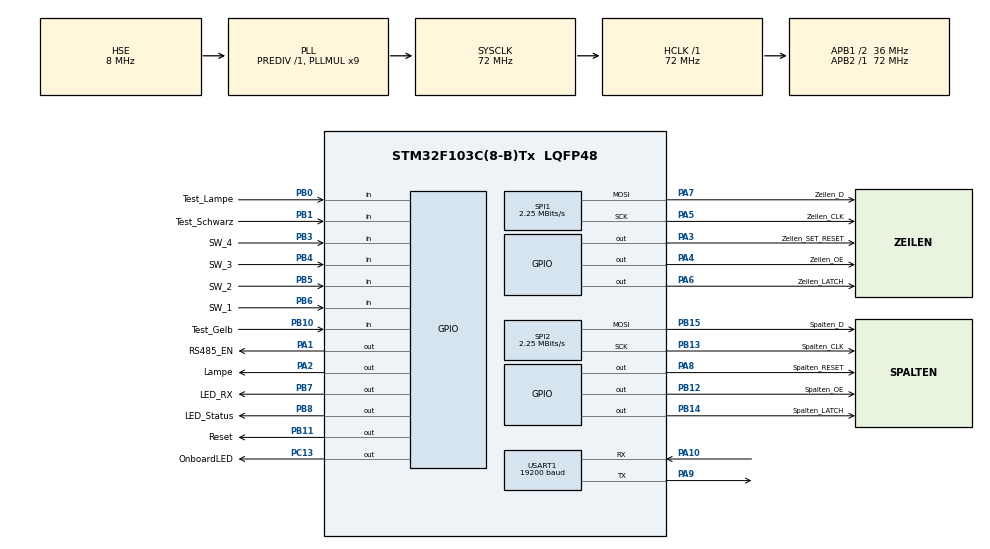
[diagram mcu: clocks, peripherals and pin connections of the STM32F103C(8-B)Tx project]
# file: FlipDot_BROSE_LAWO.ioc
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Mcu.Family=STM32F1
Mcu.Name=STM32F103C(8-B)Tx
Mcu.Package=LQFP48
NVIC.PriorityGroup=NVIC_PRIORITYGROUP_4
NVIC.TIM2_IRQn=true\:0\:0\:false\:false\:true\:true\:true
NVIC.USART1_IRQn=true\:0\:0\:false\:false\:true\:true\:true
PA1.GPIO_Label=RS485_EN
PA1.Signal=GPIO_Output
PA10.GPIO_PuPd=GPIO_PULLUP
PA10.Mode=Asynchronous
PA10.Signal=USART1_RX
PA13.Mode=Serial_Wire
PA13.Signal=SYS_JTMS-SWDIO
PA14.Mode=Serial_Wire
PA14.Signal=SYS_JTCK-SWCLK
PA2.GPIO_Label=Lampe
PA2.Signal=GPIO_Output
PA3.GPIO_Label=Zeilen_SET_RESET
PA3.Signal=GPIO_Output
PA4.GPIO_Label=Zeilen_OE
PA4.Signal=GPIO_Output
PA5.GPIO_Label=Zeilen_CLK
PA5.Mode=TX_Only_Simplex_Unidirect_Master
PA5.Signal=SPI1_SCK
PA6.GPIO_Label=Zeilen_LATCH
PA6.Signal=GPIO_Output
PA7.GPIO_Label=Zeilen_D
PA7.Mode=TX_Only_Simplex_Unidirect_Master
PA7.Signal=SPI1_MOSI
PA8.GPIO_Label=Spalten_RESET
PA8.Signal=GPIO_Output
PA9.Mode=Asynchronous
PA9.Signal=USART1_TX
PB0.GPIO_Label=Test_Lampe
PB0.GPIO_PuPd=GPIO_PULLUP
PB0.Signal=GPIO_Input
PB1.GPIO_Label=Test_Schwarz
PB1.GPIO_PuPd=GPIO_PULLUP
PB1.Signal=GPIO_Input
PB10.GPIO_Label=Test_Gelb
PB10.GPIO_PuPd=GPIO_PULLUP
PB10.Signal=GPIO_Input
PB11.GPIO_Label=Reset
PB11.Signal=GPIO_Output
PB12.GPIO_Label=Spalten_OE
PB12.Signal=GPIO_Output
PB13.GPIO_Label=Spalten_CLK
PB13.Mode=TX_Only_Simplex_Unidirect_Master
PB13.Signal=SPI2_SCK
PB14.GPIO_Label=Spalten_LATCH
PB14.Signal=GPIO_Output
PB15.GPIO_Label=Spalten_D
PB15.Mode=TX_Only_Simplex_Unidirect_Master
PB15.Signal=SPI2_MOSI
PB3.GPIO_Label=SW_4
PB3.GPIO_PuPd=GPIO_PULLUP
PB3.Signal=GPIO_Input
PB4.GPIO_Label=SW_3
PB4.GPIO_PuPd=GPIO_PULLUP
PB4.Signal=GPIO_Input
PB5.GPIO_Label=SW_2
PB5.GPIO_PuPd=GPIO_PULLUP
PB5.Signal=GPIO_Input
PB6.GPIO_Label=SW_1
PB6.GPIO_PuPd=GPIO_PULLUP
PB6.Signal=GPIO_Input
PB7.GPIO_Label=LED_RX
PB7.Signal=GPIO_Output
PB8.GPIO_Label=LED_Status
PB8.Signal=GPIO_Output
PC13-TAMPER-RTC.GPIO_Label=OnboardLED
PC13-TAMPER-RTC.Signal=GPIO_Output
PC14-OSC32_IN.Mode=LSE-External-Oscillator
PC14-OSC32_IN.Signal=RCC_OSC32_IN
PC15-OSC32_OUT.Mode=LSE-External-Oscillator
PC15-OSC32_OUT.Signal=RCC_OSC32_OUT
PD0-OSC_IN.Mode=HSE-External-Oscillator
PD0-OSC_IN.Signal=RCC_OSC_IN
PD1-OSC_OUT.Mode=HSE-External-Oscillator
PD1-OSC_OUT.Signal=RCC_OSC_OUT
ProjectManager.HeapSize=0x200
ProjectManager.StackSize=0x400
ProjectManager.TargetToolchain=Makefile
RCC.AHBFreq_Value=72000000
RCC.APB1CLKDivider=RCC_HCLK_DIV2
RCC.APB1Freq_Value=36000000
RCC.APB1TimFreq_Value=72000000
RCC.APB2Freq_Value=72000000
RCC.APB2TimFreq_Value=72000000
RCC.HCLKFreq_Value=72000000
RCC.PLLMUL=RCC_PLL_MUL9
RCC.PLLSourceVirtual=RCC_PLLSOURCE_HSE
RCC.SYSCLKFreq_VALUE=72000000
RCC.SYSCLKSource=RCC_SYSCLKSOURCE_PLLCLK
RCC.USBFreq_Value=72000000
SPI1.BaudRatePrescaler=SPI_BAUDRATEPRESCALER_32
SPI1.CalculateBaudRate=2.25 MBits/s
SPI1.Direction=SPI_DIRECTION_2LINES
SPI1.Mode=SPI_MODE_MASTER
SPI1.VirtualType=VM_MASTER
SPI2.BaudRatePrescaler=SPI_BAUDRATEPRESCALER_16
SPI2.CalculateBaudRate=2.25 MBits/s
SPI2.Direction=SPI_DIRECTION_2LINES
SPI2.Mode=SPI_MODE_MASTER
SPI2.VirtualType=VM_MASTER
TIM2.Period=71
TIM2.Prescaler=500
USART1.BaudRate=19200
USART1.VirtualMode=VM_ASYNC
VP_TIM2_VS_ClockSourceINT.Mode=Internal
board=custom

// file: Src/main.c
/**
  ******************************************************************************
  * @file           : main.c
  * @brief          : Main program body
  ******************************************************************************
  ** This notice applies to any and all portions of this file
  * that are not between comment pairs USER CODE BEGIN and
  * USER CODE END. Other portions of this file, whether
  * inserted by the user or by software development tools
  * are owned by their respective copyright owners.
  *
  * COPYRIGHT(c) 2022 STMicroelectronics
  *
  * Redistribution and use in source and binary forms, with or without modification,
  * are permitted provided that the following conditions are met:
  *   1. Redistributions of source code must retain the above copyright notice,
  *      this list of conditions and the following disclaimer.
  *   2. Redistributions in binary form must reproduce the above copyright notice,
  *      this list of conditions and the following disclaimer in the documentation
  *      and/or other materials provided with the distribution.
  *   3. Neither the name of STMicroelectronics nor the names of its contributors
  *      may be used to endorse or promote products derived from this software
  *      without specific prior written permission.
  *
  * THIS SOFTWARE IS PROVIDED BY THE COPYRIGHT HOLDERS AND CONTRIBUTORS "AS IS"
  * AND ANY EXPRESS OR IMPLIED WARRANTIES, INCLUDING, BUT NOT LIMITED TO, THE
  * IMPLIED WARRANTIES OF MERCHANTABILITY AND FITNESS FOR A PARTICULAR PURPOSE ARE
  * DISCLAIMED. IN NO EVENT SHALL THE COPYRIGHT HOLDER OR CONTRIBUTORS BE LIABLE
  * FOR ANY DIRECT, INDIRECT, INCIDENTAL, SPECIAL, EXEMPLARY, OR CONSEQUENTIAL
  * DAMAGES (INCLUDING, BUT NOT LIMITED TO, PROCUREMENT OF SUBSTITUTE GOODS OR
  * SERVICES; LOSS OF USE, DATA, OR PROFITS; OR BUSINESS INTERRUPTION) HOWEVER
  * CAUSED AND ON ANY THEORY OF LIABILITY, WHETHER IN CONTRACT, STRICT LIABILITY,
  * OR TORT (INCLUDING NEGLIGENCE OR OTHERWISE) ARISING IN ANY WAY OUT OF THE USE
  * OF THIS SOFTWARE, EVEN IF ADVISED OF THE POSSIBILITY OF SUCH DAMAGE.
  *
  ******************************************************************************
  */
#include "main.h"
#include "stm32f1xx_hal.h"
#include "spi.h"
#include "tim.h"
#include "usart.h"
#include "gpio.h"

/* USER CODE BEGIN Includes */

#include <stdio.h>
#include <stdlib.h>
#include <string.h>
#include "delay_own.h"
#include "ringbuffer.h"
#include "fnt8x8.h"
#include "6x8_vertikal_LSB_1.h"

//    ______ _ _        _____            _             _
//   |  ____| (_)      / ____|          | |           | |
//   | |__  | |_ _ __ | |     ___  _ __ | |_ _ __ ___ | |
//   |  __| | | | '_ \| |    / _ \| '_ \| __| '__/ _ \| |
//   | |    | | | |_) | |___| (_) | | | | |_| | | (_) | |
//   |_|    |_|_| .__/ \_____\___/|_| |_|\__|_|  \___/|_|
//              | |
//              |_|   written by Moritz Kimmig
//                    Version 1.2 (August 2022)
//
//////////////////////////////////////////////////////////
// Changelog:
//
//    V1.0
//      - Initaler Code
//
//    V1.1
//      - Zweite (schmalere) Schriftart implmentiert.
//      - Befehlssatz umgebaut, statt fixer Befehlslänge schließt
//        nun ein Return (0x0A) den jeweiligen Befehl ab
//      - Fehlender PullUp bei SW1-4 aktiviert
//      - "fast_refresh" eingebaut. Wenn dies aktiviert ist, dann
//        wird ein Dot nur noch gesetzt, wenn sich der Zustand vom
//        letzten mal davor geändert hat. Diese Funktion liegt nun
//        auf Schalter SW3.
//      - paar unbenutze Sachen rausgeworfen
//
//    V1.2
//      - Ringpuffer eingebaut und die Befehlsverarbeitung aus dem
//        UART Interrupt entfernt. Desweiteren den Befehlssatz auf
//        lesbare und sinnvolle Befehle umgebaut.
//        Alle Befehle müssen weiterhin mit einem \n abgeschlossen werden.
//      - Textoption für left/center/right, wie auch manuellen Offset eingebaut
//      - Bugfix beim UART Reset
//      - Option für manuelles Refreshen eingefügt (Siehe Schalter 4)
//
//
//    To Do:
//      - Overflow Bug lösen?
//      - erstes/letztes byte von schrift beinhaltet manchmal keine pixel -< beheben!
//

/* USER CODE END Includes */

/* USER CODE BEGIN PV */

//////////////////////////////////////////////////////
// Grundlegende Einstellungen
//////////////////////////////////////////////////////

// BROSE oder LAWO Panel (Änderbar über Onboard Schalter)
// 0 = LAWO
// 1 = BROSE
uint8_t Paneltyp;

// Anzahl Panels (Änderbar über Onboard Schalter)
uint8_t Panelanzahl;

//////////////////////////////////////////////////////
// Variablen
//////////////////////////////////////////////////////

// Pixelspeicher
uint32_t* dots;
uint32_t* dots_old;

// SPI Handler
SPI_HandleTypeDef hspi1;                // SPI_1 (Zeilen ULN2803, UDN2981)
SPI_HandleTypeDef hspi2;                // SPI_2 (Modulauswahl, Daten + Adressleitungen FP2800)
uint8_t hspi2_data[2] = {0x00, 0x00};   // SPI_2 Zwischenspeicher

// UART
uint8_t  uart_puffer = 0;                     // UART Puffer für ein Byte
uint32_t uart_last_time = 0;                  // Zeitmerker, wann letztes Byte kam
#define cmd_buffer_size 100                   // max. Befehlslänge
unsigned char cmd_buffer[cmd_buffer_size];    // Befehlszwischenspeicher

// Text
#define max_text_size 200                     // Puffergröße für Texterzeugung (Pixeldaten)
#define max_cmd_args 10                       // maximale Anzahl an Argumenten pro Befehl
uint8_t textbuffer_8px_UP[max_text_size];     // Zwischenspeicher Pixeldaten
uint8_t textbuffer_8px_DOWN[max_text_size];   // Zwischenspeicher Pixeldaten

// Optionen und Merker
uint8_t enable_fast_refresh = 0;        // Setze nur Dots, welche sich ändern -> schneller! (über Schalter 3 einstellbar!)
uint8_t enable_manually_refresh = 0;    // Nur nach Refresh-Befehl Dots schreiben (Ausnahme: Gelb/Schwarztest) (über Schalter 4 einstellbar!)
uint8_t yellow_test_or_center = 0;
uint8_t yellow_test_or_UP_DOWN = 0;
uint8_t start_refresh = 0;              // Vormerker: Pixeldaten ausgeben
uint8_t start_refresh_center = 0;       // Vormerker: Center Text ausgeben
uint8_t start_refresh_UP = 0;           // Vormerker: Top Text ausgeben
uint8_t start_refresh_DOWN = 0;         // Vormerker: Bottom Text ausgeben
uint8_t start_black = 0;                // Vormerker: Schwarzttest
uint8_t start_yellow = 0;               // Vormerker: Gelbtest

// ENUM für Befehle
enum {
  CMD_ERROR, // error
  CMD_LIGHT,
  CMD_SET_ALL,
  CMD_SET_BUFF,
  CMD_REFRESH,
  CMD_SET_DOT,
  CMD_TEXT_BOTTOM,
  CMD_TEXT_TOP,
  CMD_TEXT_CENTER
};

/* Private variables ---------------------------------------------------------*/

/* USER CODE END PV */

void SystemClock_Config(void);

/* USER CODE BEGIN PFP */
/* Private function prototypes -----------------------------------------------*/

// Hardware Funktionen
void Zeile_aktivieren(uint8_t Zeile, uint8_t SET_RESET);
void Spalte_aktivieren(uint8_t Spalte, uint8_t SET_RESET);
void Modul_aktivieren(uint8_t Modul, uint8_t ON_OFF);
void Write_Dots(uint8_t from_x, uint8_t to_x, uint8_t from_y, uint8_t to_y);

// Software Funktionen
int generate_text(uint8_t* text_in, uint8_t* text_out, int start, int end, uint8_t text_selector);
uint8_t bit_not_changed(uint8_t x, uint8_t y);
void save_written_dots(void);
int Run_CMD(unsigned char* command);
int isBusy();

/* USER CODE END PFP */

int main(void)
{

  /* MCU Configuration----------------------------------------------------------*/

  /* Reset of all peripherals, Initializes the Flash interface and the Systick. */
  HAL_Init();

  /* Configure the system clock */
  SystemClock_Config();

  /* Initialize all configured peripherals */
  MX_GPIO_Init();
  MX_SPI1_Init();
  MX_SPI2_Init();
  MX_USART1_UART_Init();
  MX_TIM2_Init();
  /* USER CODE BEGIN 2 */

  //////////////////////////////////////////////////////
  // Basiseinstellungen abfragen
  //////////////////////////////////////////////////////

  // Switch 1
  // ---------
  #define LAWO 0
  #define BROSE 1
  if(!HAL_GPIO_ReadPin(SW_4_GPIO_Port, SW_4_Pin)) {
    Paneltyp = BROSE; // ON
  } else {
    Paneltyp = LAWO; // OFF
  }

  // Switch 2
  // ---------
  // 0 = 3 Panels (84px  Breite)
  // 1 = 4 Panels (112px Breite)
  if(!HAL_GPIO_ReadPin(SW_3_GPIO_Port, SW_3_Pin)) {
    Panelanzahl = 4; // ON (Brose)
  } else {
    Panelanzahl = 3; // OFF (Lawo)
  }

  // Switch 3
  // ---------
  // 0 = fast_refresh OFF
  // 1 = fast_refresh ON
  if(!HAL_GPIO_ReadPin(SW_2_GPIO_Port, SW_2_Pin)) {
    enable_fast_refresh = 1;
  } else {
    enable_fast_refresh = 0;
  }

  // Switch 4
  // ---------
  // 0 = deaktiviere manuelles Refreshen
  // 1 =   aktiviere manuelles Refreshen
  if(!HAL_GPIO_ReadPin(SW_1_GPIO_Port, SW_1_Pin)) {
    enable_manually_refresh = 1;
  } else {
    enable_manually_refresh = 0;
  }

  //////////////////////////////////////////////////////
  // Speicher initalisieren
  //////////////////////////////////////////////////////

  // Initalzustände aktivieren
  HAL_GPIO_WritePin(Spalten_RESET_GPIO_Port, Spalten_RESET_Pin, 1);
  HAL_GPIO_WritePin(Spalten_OE_GPIO_Port, Spalten_OE_Pin, 0);

  // Pixelspeicher
  dots = (uint32_t*)malloc(Panelanzahl * 28 * sizeof(uint32_t));
  if (dots == NULL) {
    while (1) {

      // Bei Speicherfehler -> blinken
      HAL_GPIO_WritePin(OnboardLED_GPIO_Port, OnboardLED_Pin, 1);
      HAL_Delay(500);
      HAL_GPIO_WritePin(OnboardLED_GPIO_Port, OnboardLED_Pin, 0);
      HAL_Delay(500);
    }
  }

  // Pixelspeicher (letzter Zustand)
  dots_old = (uint32_t*)malloc(Panelanzahl * 28 * sizeof(uint32_t));
  if (dots_old == NULL) {
    while (1) {

      // Bei Speicherfehler -> blinken
      HAL_GPIO_WritePin(OnboardLED_GPIO_Port, OnboardLED_Pin, 1);
      HAL_Delay(500);
      HAL_GPIO_WritePin(OnboardLED_GPIO_Port, OnboardLED_Pin, 0);
      HAL_Delay(500);
    }
  }

  // Pixelspeicher initalisieren
  for (uint8_t i=0; i < Panelanzahl * 28; i++) {
    dots[i] = 0;
    dots_old[i] = 0;
  }

  // Ringbuffer initalisieren
  ringbuffer_init();

  //////////////////////////////////////////////////////
  // Interrupts initalisieren
  //////////////////////////////////////////////////////

  // UART1 Interrupt aktivieren
  HAL_UART_Receive_IT(&huart1, &uart_puffer, 1);
  HAL_NVIC_EnableIRQ(USART1_IRQn);

  // Timer2 Interrupt aktivieren (aktuell nicht in Verwendung!!)
  // HAL_TIM_Base_Start_IT(&htim2);

  /* USER CODE END 2 */

  /* Infinite loop */
  while (1)
  {

  /* USER CODE BEGIN 3 */

  //////////////////////////////////////////////////////
  // Taster u. Variablen Abfragen durchführen
  //////////////////////////////////////////////////////

  // Taster Abfrage: Gelb-Test
  if (!HAL_GPIO_ReadPin(Test_Gelb_GPIO_Port, Test_Gelb_Pin) || start_yellow) {
    uint8_t Zeilen = 0;
    uint8_t enable_fast_refresh_current = enable_fast_refresh;
    enable_fast_refresh = 0; // disable fast_refresh for bl/yl test
    for (uint8_t i=0; i < Panelanzahl * 28; i++)
        dots[i] = 0xFFFFFFFF;
    if (Paneltyp == LAWO)  { Zeilen = 16; }
    if (Paneltyp == BROSE) { Zeilen = 19; }
    Write_Dots(0, (Panelanzahl * 28) - 1, 0, Zeilen - 1);
    enable_fast_refresh = enable_fast_refresh_current;
    yellow_test_or_center = 1;
    yellow_test_or_UP_DOWN = 1;
    start_yellow = 0;

    // Speichere aktuellen Zustand
    save_written_dots();
  }

  // Taster Abfrage: Schwarz-Test
  if (!HAL_GPIO_ReadPin(Test_Schwarz_GPIO_Port, Test_Schwarz_Pin) || start_black) {
    uint8_t Zeilen = 0;
    uint8_t enable_fast_refresh_current = enable_fast_refresh;
    enable_fast_refresh = 0; // disable fast_refresh for bl/yl test
    for (uint8_t i=0; i < Panelanzahl * 28; i++)
        dots[i] = 0x00000000;
    if (Paneltyp == LAWO)  { Zeilen = 16; }
    if (Paneltyp == BROSE) { Zeilen = 19; }
    Write_Dots(0, (Panelanzahl * 28) - 1, 0, Zeilen - 1);
    enable_fast_refresh = enable_fast_refresh_current;
    yellow_test_or_center = 0;
    yellow_test_or_UP_DOWN = 0;
    start_black = 0;

    // Speichere aktuellen Zustand
    save_written_dots();
  }

  // Taster Abfrage: Lampen-Test
  if (!HAL_GPIO_ReadPin(Test_Lampe_GPIO_Port, Test_Lampe_Pin)) {
    static uint32_t blocked_until = 0;
    if (HAL_GetTick() > blocked_until) {
      if (HAL_GPIO_ReadPin(Lampe_GPIO_Port, Lampe_Pin)) {
        HAL_GPIO_WritePin(Lampe_GPIO_Port, Lampe_Pin, 0);
      } else {
        HAL_GPIO_WritePin(Lampe_GPIO_Port, Lampe_Pin, 1);
      }
      blocked_until = HAL_GetTick() + 400;
    }
  }

  //////////////////////////////////////////////////////
  // Anzeigeninhalt aktualisieren
  //////////////////////////////////////////////////////
  if (start_refresh) {
    uint8_t anzahl_spalten = 20;
    if (Paneltyp == LAWO)  { anzahl_spalten=16; }
    if (Paneltyp == BROSE) { anzahl_spalten=19; }
    Write_Dots(0, (Panelanzahl * 28) - 1, 0, anzahl_spalten - 1);
    start_refresh = 0;

    // Speichere aktuellen Zustand
    save_written_dots();
  }

  ////////////////////////////////////////////////////////////
  // Anzeigeninhalt aktualisieren (Text)
  ////////////////////////////////////////////////////////////
  // Text mittig
  if (start_refresh_center) {
    Write_Dots(0, (Panelanzahl * 28) - 1, 4, 11);
    start_refresh_center = 0;

    // Speichere aktuellen Zustand
    save_written_dots();
  }

  // Text oben
  if (start_refresh_UP) {
    uint8_t offset = 0;
    if (Paneltyp == LAWO)  { offset=0; }
    if (Paneltyp == BROSE) { offset=0; }
    Write_Dots(0, (Panelanzahl * 28) - 1, 0, 7+offset);
    start_refresh_UP = 0;

    // Speichere aktuellen Zustand
    save_written_dots();
  }

  // Text unten
  if (start_refresh_DOWN) {
    uint8_t anzahl_spalten = 20;
    if (Paneltyp == LAWO)  { anzahl_spalten=16; }
    if (Paneltyp == BROSE) { anzahl_spalten=19; }
    Write_Dots(0, (Panelanzahl * 28) - 1, anzahl_spalten - 8, anzahl_spalten - 1);
    start_refresh_DOWN = 0;

    // Speichere aktuellen Zustand
    save_written_dots();
  }

  //////////////////////////////////////////////////////
  // UART Buffer auslesen und Befehle starten
  //////////////////////////////////////////////////////
  unsigned char _temp_char = ringbuffer_get();
  static uint32_t cmd_buffer_pos = 0;
  while (_temp_char) {

    // Aktuelles Zeichen in Befehlspuffer laden
    cmd_buffer[cmd_buffer_pos] = _temp_char;
    cmd_buffer_pos++;
    if (cmd_buffer_pos >= cmd_buffer_size) {
      cmd_buffer_pos = 0;
      break;
    }

    // Befehl vollständig ausgelesen ?
    if (_temp_char == '\n') {
      cmd_buffer[cmd_buffer_pos] = '\0';
      cmd_buffer_pos = 0;

      // Befehl ausführen
      Run_CMD(cmd_buffer);
      break;
    }

    // Neues Zeichen aus UART/Ringpuffer laden
    _temp_char = ringbuffer_get();
  }

  //////////////////////////////////////////////////////
  // UART nach 250ms zurücksetzen
  //////////////////////////////////////////////////////
  if (HAL_GetTick() > (uart_last_time + 250) && uart_last_time != 0 && !isBusy()) {
    cmd_buffer_pos = 0;
    ringbuffer_init();
    uart_last_time = HAL_GetTick();
  }
  if (HAL_GetTick() > (uart_last_time + 50)) {
    HAL_GPIO_WritePin(LED_RX_GPIO_Port, LED_RX_Pin,  0);
    uart_last_time = HAL_GetTick();
  }

  }
  /* USER CODE END 3 */

}

void SystemClock_Config(void)
{

  RCC_OscInitTypeDef RCC_OscInitStruct;
  RCC_ClkInitTypeDef RCC_ClkInitStruct;

    /**Initializes the CPU, AHB and APB busses clocks
    */
  RCC_OscInitStruct.OscillatorType = RCC_OSCILLATORTYPE_HSE;
  RCC_OscInitStruct.HSEState = RCC_HSE_ON;
  RCC_OscInitStruct.HSEPredivValue = RCC_HSE_PREDIV_DIV1;
  RCC_OscInitStruct.HSIState = RCC_HSI_ON;
  RCC_OscInitStruct.PLL.PLLState = RCC_PLL_ON;
  RCC_OscInitStruct.PLL.PLLSource = RCC_PLLSOURCE_HSE;
  RCC_OscInitStruct.PLL.PLLMUL = RCC_PLL_MUL9;
  if (HAL_RCC_OscConfig(&RCC_OscInitStruct) != HAL_OK)
  {
    _Error_Handler(__FILE__, __LINE__);
  }

    /**Initializes the CPU, AHB and APB busses clocks
    */
  RCC_ClkInitStruct.ClockType = RCC_CLOCKTYPE_HCLK|RCC_CLOCKTYPE_SYSCLK
                              |RCC_CLOCKTYPE_PCLK1|RCC_CLOCKTYPE_PCLK2;
  RCC_ClkInitStruct.SYSCLKSource = RCC_SYSCLKSOURCE_PLLCLK;
  RCC_ClkInitStruct.AHBCLKDivider = RCC_SYSCLK_DIV1;
  RCC_ClkInitStruct.APB1CLKDivider = RCC_HCLK_DIV2;
  RCC_ClkInitStruct.APB2CLKDivider = RCC_HCLK_DIV1;

  if (HAL_RCC_ClockConfig(&RCC_ClkInitStruct, FLASH_LATENCY_2) != HAL_OK)
  {
    _Error_Handler(__FILE__, __LINE__);
  }

    /**Configure the Systick interrupt time
    */
  HAL_SYSTICK_Config(HAL_RCC_GetHCLKFreq()/1000);

    /**Configure the Systick
    */
  HAL_SYSTICK_CLKSourceConfig(SYSTICK_CLKSOURCE_HCLK);

  /* SysTick_IRQn interrupt configuration */
  HAL_NVIC_SetPriority(SysTick_IRQn, 0, 0);
}

/* USER CODE BEGIN 4 */

//////////////////////////////////////////////////////
// FlipDot Schreibprozess aktiv?
//////////////////////////////////////////////////////
int isBusy() {
  return start_refresh | start_refresh_center | start_refresh_DOWN | start_refresh_UP | start_yellow | start_black;
}

//////////////////////////////////////////////////////
// UART Interrupts verarbeiten
//////////////////////////////////////////////////////
void HAL_UART_RxCpltCallback(UART_HandleTypeDef *huart) {

  // UART 1
  if (huart->Instance == USART1) {

    // RX LED einschalten
    HAL_GPIO_WritePin(LED_RX_GPIO_Port, LED_RX_Pin,  1);

    //////////////////////////////////////////////////////
    // Daten wegschreiben
    //////////////////////////////////////////////////////
    ringbuffer_pushback((unsigned char)uart_puffer);

    // RX LED wieder ausschalten
    // HAL_GPIO_WritePin(LED_RX_GPIO_Port, LED_RX_Pin,  0);
    // Wird im Hauptprogramm nach einem gewissen Delay wieder ausgeschaltet!

    // Aktuelle Zeit speichern
    uart_last_time = HAL_GetTick();

    // Interrupt erneut starten
    HAL_UART_Receive_IT(&huart1, &uart_puffer, 1);
  }
}

//////////////////////////////////////////////////////
// Timer Interrupts verarbeiten
//////////////////////////////////////////////////////
void HAL_TIM_PeriodElapsedCallback(TIM_HandleTypeDef *htim) {

  // Timer 2 (Multiplexing)
  if (htim->Instance == TIM2) {

    // TIMER 2 ist deaktiviert!!

    // Auf nächsten Schritt umschalten und berechnete Zeit warten!
    //__HAL_TIM_SET_COUNTER(&htim2, 0);
    //__HAL_TIM_SET_AUTORELOAD(&htim2, (on_time)+4);
  }
}

//////////////////////////////////////////////////////
// Befehl verarbeiten
//////////////////////////////////////////////////////
int Run_CMD(unsigned char* command) {

  //////////////////////////////////////////////////////
  // 1. Befehl aufsplitten
  //////////////////////////////////////////////////////

  // count and replace " with \0
  uint32_t str_len = strlen((const char*)command);
  uint8_t quotation_marks_cnt = 0;
  char* arg_text = NULL;
  for (uint32_t i=0; i<str_len; i++) {
    if (command[i] == '\"') {
      command[i] = '\0';
      quotation_marks_cnt++;

      // set text arg pointer
      if (!arg_text) {
        arg_text = (char*)(command + i + 1);
      }
    }
    if (command[i] == '\n') { // delete newline
      command[i] = '\0';
    }
  }
  if (quotation_marks_cnt != 0 && quotation_marks_cnt != 2) {
    return -1; // invalid command
  }

  // separate command into args
  char* args[max_cmd_args];
  args[0] = strtok((char*)command, " ");
  int f = 0;
  while (args[f]) {
    f++;
    if (f >= max_cmd_args) { break; }
    args[f] = strtok(NULL, " ");
  }
  if (f < max_cmd_args && !arg_text) {
    args[f] = NULL;
  }

  // append the text-string to args
  if (arg_text) {
    uint8_t pos_text = f;
    if (!(pos_text >= max_cmd_args)) {
      args[pos_text] = arg_text;
    }
    if (pos_text+1 < max_cmd_args) {
      args[pos_text+1] = NULL;
    }
  }

  // count args
  uint8_t arg_cnt = 0;
  while (args[arg_cnt] && arg_cnt < max_cmd_args) { arg_cnt++; }
  if (!arg_cnt) {
    return -1;
  }

  // Befehl bestimmen
  uint8_t current_cmd = CMD_ERROR;
  if        (arg_cnt == 4 && !strcmp(args[0], "SET_DOT")) {   current_cmd = CMD_SET_DOT;
  } else if (arg_cnt == 2 && !strcmp(args[0], "LIGHT")) {     current_cmd = CMD_LIGHT;
  } else if (arg_cnt == 2 && !strcmp(args[0], "SET_ALL")) {   current_cmd = CMD_SET_ALL;
  } else if (arg_cnt == 2 && !strcmp(args[0], "SET_BUFF")) {  current_cmd = CMD_SET_BUFF;
  } else if (arg_cnt == 1 && !strcmp(args[0], "REFRESH")) {   current_cmd = CMD_REFRESH;
  } else if (arg_cnt == 4 && !strcmp(args[0], "TEXT_TOP")) {  current_cmd = CMD_TEXT_TOP;
  } else if (arg_cnt == 4 && !strcmp(args[0], "TEXT_CENTER")) {   current_cmd = CMD_TEXT_CENTER;
  } else if (arg_cnt == 4 && !strcmp(args[0], "TEXT_BOTTOM")) {   current_cmd = CMD_TEXT_BOTTOM;
  }
  if (current_cmd == CMD_ERROR) {
    return -1;
  }

  //////////////////////////////////////////////////////
  // 2. Befehl ausführen
  //////////////////////////////////////////////////////
  switch (current_cmd) {

    // Lampe ein/aus
    // usage: LIGHT <1/0>
    case CMD_LIGHT:
      if (atoi(args[1])) {
        HAL_GPIO_WritePin(Lampe_GPIO_Port, Lampe_Pin, 1);
      } else {
        HAL_GPIO_WritePin(Lampe_GPIO_Port, Lampe_Pin, 0);
      }
      break;

    // Alle Dots setzen/löschen
    // usage: SET_ALL <1/0> (1=yellow, 0=black)
    case CMD_SET_ALL:
      if (atoi(args[1])) {
        start_yellow = 1;
      } else {
        start_black = 1;
      }
      break;

    // Alle Dots setzen/löschen (Zwischenspeicher)
    // usage: CMD_SET_BUFF <1/0> (1=yellow, 0=black)
    case CMD_SET_BUFF:
      if (atoi(args[1])) {
        for (int i=0; i<(28 * Panelanzahl); i++)
          dots[i] |= 0xFFFFFFFF;
      } else {
        for (int i=0; i<(28 * Panelanzahl); i++)
          dots[i] |= 0;
      }
      break;

    // Dot setzen/löschen (Zwischenspeicher)
    // usage: SET_DOT <x> <y> <1/0>
    case CMD_SET_DOT: {
      uint32_t x = atoi(args[1]);
      uint32_t y = atoi(args[2]);
      if (x > (Panelanzahl * 28) - 1) { break; }
      if (y > (20 - 1)) { break; }
      if (atoi(args[3])) {

        // Setzen
        dots[x] |= ((uint32_t)0x00000001 << y);

      } else {

        // Löschen
        dots[x] &= ~((uint32_t)0x00000001 << y);
      }
      break; }

    // Pixeldaten ausgeben (Refresh)
    // usage: REFRESH
    case CMD_REFRESH:
      start_refresh = 1;
      break;

    // Text (mittig)
    // usage: TEXT_CENTER <Font_ID> <Position> "<Text>"
    // (Position: L=left, C=center, R=right, 0..83/111=offset von links)
    case CMD_TEXT_CENTER: {

      // Textlänge festlegen
      int text_laenge = strlen(args[3]);
      if (text_laenge <= 0) { break; }

      // Checke auf gültige Schriftart und Position
      int font = atoi(args[1]);
      if (font != 1 && font != 0)
        break;
      int offset_mode = -1;
      unsigned char position = atoi(args[2]);
      if (args[2][0] == 'L' || args[2][0] == 'C' || args[2][0] == 'R') {
        offset_mode = 0;
        position = args[2][0];
      } else {
        if (position < (28 * Panelanzahl))
          offset_mode = 1;
      }
      if (offset_mode < 0)
        break; // error

      // Text generieren
      for (int i=0; i<max_text_size; i++) { textbuffer_8px_UP[i] = 0; }
      int text_breite = generate_text((unsigned char*)args[3], textbuffer_8px_UP, 0, text_laenge, font);
      if (!text_breite) { break; }

      // Mittlere Textreihe im Dot-Buffer löschen
      for (int i=0; i<(28 * Panelanzahl); i++)
        dots[i] = dots[i] & 0xFFFFF00F;

      // evtl. alles löschen
      if (yellow_test_or_UP_DOWN) {
        for (int i=0; i<(28 * Panelanzahl); i++) {
          dots[i] = 0; }
      }

      // Text in Dot-Buffer schreiben
      uint8_t offset = 0;
      if (text_breite < (28 * Panelanzahl)) {
        offset = ((Panelanzahl * 28)/2) - (text_breite/2);
      }
      if (text_breite >= (28 * Panelanzahl))
        text_breite = (28 * Panelanzahl);
      if (position == 'L') // linksbündig
        offset = 0;
      if (position == 'R') { // rechtsbündig
        if (text_breite <= (28 * Panelanzahl)) {
          offset = (28 * Panelanzahl) - text_breite;
        } else { offset = 0; }
      }
      if (offset_mode) // 0..83/111 - offset manuell
        offset = position;
      for (int i=0; i<text_breite && i+offset<(28*Panelanzahl); i++) {
        dots[i+offset] |= (uint16_t)textbuffer_8px_UP[i] << 4;
      }

      // Schreibflags setzen
      if (!enable_manually_refresh) {
        if (yellow_test_or_UP_DOWN) {
          start_refresh = 1;
        } else {
          start_refresh_center = 1;
        }
      }
      yellow_test_or_center = 1;
      yellow_test_or_UP_DOWN = 0;
      break; }

    // Text (oben)
    // usage: TEXT_TOP <Font_ID> <Position 1/2/3> "<Text>"
    // (Position: 1=left, 2=center, 3=right)
    case CMD_TEXT_TOP: {

      // Textlänge festlegen
      int text_laenge = strlen(args[3]);
      if (text_laenge <= 0) { break; }

      // Checke auf gültige Schriftart und Position
      int font = atoi(args[1]);
      if (font != 1 && font != 0)
        break;
      int offset_mode = -1;
      unsigned char position = atoi(args[2]);
      if (args[2][0] == 'L' || args[2][0] == 'C' || args[2][0] == 'R') {
        offset_mode = 0;
        position = args[2][0];
      } else {
        if (position < (28 * Panelanzahl))
          offset_mode = 1;
      }
      if (offset_mode < 0)
        break; // error

      // Text generieren
      for (int i=0; i<max_text_size; i++) { textbuffer_8px_UP[i] = 0; }
      int text_breite = generate_text((unsigned char*)args[3], textbuffer_8px_UP, 0, text_laenge, font);
      if (!text_breite) { break; }

      // Obere Textreihe im Dot-Buffer löschen
      for (int i=0; i<(28 * Panelanzahl); i++)
        dots[i] = dots[i] & 0xFFFFFF00;

      // evtl. alles löschen
      if (yellow_test_or_center) {
        for (int i=0; i<(28 * Panelanzahl); i++) {
          dots[i] = 0; }
      }

      // Text in Dot-Buffer schreiben
      uint8_t offset = 0;
      if (text_breite < (28 * Panelanzahl)) {
        offset = ((Panelanzahl * 28)/2) - (text_breite/2);
      }
      if (text_breite >= (28 * Panelanzahl))
        text_breite = (28 * Panelanzahl);
      if (position == 'L') // linksbündig
        offset = 0;
      if (position == 'R') { // rechtsbündig
        if (text_breite <= (28 * Panelanzahl)) {
          offset = (28 * Panelanzahl) - text_breite;
        } else { offset = 0; }
      }
      if (offset_mode) // 0..83/111 - offset manuell
        offset = position;
      for (int i=0; i<text_breite && i+offset<(28*Panelanzahl); i++) {
        dots[i+offset] |= (uint16_t)textbuffer_8px_UP[i];
      }

      // Schreibflags setzen
      if (!enable_manually_refresh) {
        if (yellow_test_or_center) {
          start_refresh = 1;
        } else {
          start_refresh_UP = 1;
        }
      }
      yellow_test_or_center = 0;
      yellow_test_or_UP_DOWN = 1;
      break; }

    // Text (unten)
    // usage: TEXT_BOTTOM <Font_ID> <Position 1/2/3> "<Text>"
    // (Position: 1=left, 2=center, 3=right)
    case CMD_TEXT_BOTTOM: {

      // Textlänge festlegen
      int text_laenge = strlen(args[3]);
      if (text_laenge <= 0) { break; }

      // Checke auf gültige Schriftart und Position
      int font = atoi(args[1]);
      if (font != 1 && font != 0)
        break;
      int offset_mode = -1;
      unsigned char position = atoi(args[2]);
      if (args[2][0] == 'L' || args[2][0] == 'C' || args[2][0] == 'R') {
        offset_mode = 0;
        position = args[2][0];
      } else {
        if (position < (28 * Panelanzahl))
          offset_mode = 1;
      }
      if (offset_mode < 0)
        break; // error

      // Text generieren
      for (int i=0; i<max_text_size; i++) { textbuffer_8px_UP[i] = 0; }
      int text_breite = generate_text((unsigned char*)args[3], textbuffer_8px_UP, 0, text_laenge, font);
      if (!text_breite) { break; }

      // Unterste Textreihe im Dot-Buffer löschen
      for (int i=0; i<(28 * Panelanzahl); i++)
        dots[i] = dots[i] & 0xFFFF00FF;

      // evtl. alles löschen
      if (yellow_test_or_center) {
        for (int i=0; i<(28 * Panelanzahl); i++) {
          dots[i] = 0; }
      }

      // Text in Dot-Buffer schreiben
      uint8_t offset = 0;
      if (text_breite < (28 * Panelanzahl)) {
        offset = ((Panelanzahl * 28)/2) - (text_breite/2);
      }
      if (text_breite >= (28 * Panelanzahl))
        text_breite = (28 * Panelanzahl);
      if (position == 'L') // linksbündig
        offset = 0;
      if (position == 'R') { // rechtsbündig
        if (text_breite <= (28 * Panelanzahl)) {
          offset = (28 * Panelanzahl) - text_breite;
        } else { offset = 0; }
      }
      if (offset_mode) // 0..83/111 - offset manuell
        offset = position;
      for (int i=0; i<text_breite && i+offset<(28*Panelanzahl); i++) {
        dots[i+offset] |= (uint16_t)textbuffer_8px_UP[i] << 8;
      }

      // Schreibflags setzen
      if (!enable_manually_refresh) {
        if (yellow_test_or_center) {
          start_refresh = 1;
        } else {
          start_refresh_DOWN = 1;
        }
      }
      yellow_test_or_center = 0;
      yellow_test_or_UP_DOWN = 1;
      break; }

    default:
      // Default
      return -1;
      break;
  }

  return 0;
}

//////////////////////////////////////////////////////
// Zeile aktivieren
//////////////////////////////////////////////////////
void Zeile_aktivieren(uint8_t Zeile, uint8_t SET_RESET) {

  // Variabelcheck
  if (Zeile >= 24 || SET_RESET > 1) { return; }

  // Passendes Bit auf 1 setzen
  uint8_t array_pos = (Zeile / 8);
  uint8_t shift_data[3] = {0x00, 0x00, 0x00};
  uint8_t bit_pos = Zeile - (8 * array_pos);
  shift_data[2 - array_pos] = 0x01 << bit_pos;

  // Daten rausschieben
  HAL_SPI_Transmit(&hspi1, (uint8_t*)&shift_data, 3, 100);

  // SET oder RESET (UDN2981 oder ULN2803 aktivieren)
  if (SET_RESET) {
    HAL_GPIO_WritePin(Zeilen_SET_RESET_GPIO_Port, Zeilen_SET_RESET_Pin, 1);
  } else {
    HAL_GPIO_WritePin(Zeilen_SET_RESET_GPIO_Port, Zeilen_SET_RESET_Pin, 0);
  }

  // Latch Toggeln
  // (Anmerkung: OE wird extern über Timer gesteuert!)
  HAL_GPIO_WritePin(Zeilen_LATCH_GPIO_Port, Zeilen_LATCH_Pin, 1);
  HAL_GPIO_WritePin(Zeilen_LATCH_GPIO_Port, Zeilen_LATCH_Pin, 0);
}

//////////////////////////////////////////////////////
// Spalte aktivieren (Daten + Adressleitungen von FP2800)
//////////////////////////////////////////////////////
void Spalte_aktivieren(uint8_t Spalte, uint8_t SET_RESET) {

  // Variabelcheck
  if (Spalte >= 28) { return; }

  // Spalte umwandeln nach FP2800 Wahrheitstabelle
  if (Paneltyp == 0) { Spalte = 27 - Spalte; }
  uint8_t Spalte_FP2800 = Spalte + 1;
  if (Spalte > 6) {
    Spalte_FP2800++;
    if (Spalte > 13) {
      Spalte_FP2800++;
      if (Spalte > 20) {
        Spalte_FP2800++;
      }
    }
  }

  // Adressbits in Zwischenspeicher schreiben
  hspi2_data[1] = hspi2_data[1] & 0xC0;
  Spalte_FP2800 = Spalte_FP2800 << 1;
  hspi2_data[1] = hspi2_data[1] | Spalte_FP2800;

  // Datenbit in Zwischenspeicher schreiben
  if (SET_RESET) {
    hspi2_data[1] = hspi2_data[1] | 0x01;
  }

  // Daten rausschieben
  HAL_SPI_Transmit(&hspi2, (uint8_t*)&hspi2_data, 2, 100);

  // Latch Toggeln
  HAL_GPIO_WritePin(Spalten_LATCH_GPIO_Port, Spalten_LATCH_Pin, 1);
  HAL_GPIO_WritePin(Spalten_LATCH_GPIO_Port, Spalten_LATCH_Pin, 0);
}

//////////////////////////////////////////////////////
// Modul aktivieren (Enable von FP2800)
//////////////////////////////////////////////////////
void Modul_aktivieren(uint8_t Modul, uint8_t ON_OFF) {

  // LAWO
  if (Paneltyp == 0) {

    // Variabelcheck
    if (Modul >= 4) { return; }

    // Alte Modulbits löschen
    hspi2_data[1] = hspi2_data[1] & 0x3F;
    hspi2_data[0] = hspi2_data[0] & 0xC0;

    // Modulbit setzen
    if (Paneltyp == 0) { Modul = (Panelanzahl - 1) - Modul; }
    if (ON_OFF) {
      switch (Modul) {
        case 0: hspi2_data[1] = hspi2_data[1] | 0x40; break;
        case 3: hspi2_data[1] = hspi2_data[1] | 0x80; break;
        case 2: hspi2_data[0] = hspi2_data[0] | 0x01; break;
        case 1: hspi2_data[0] = hspi2_data[0] | 0x02; break;
        default: break;
      }
    }
  }

  // BROSE
  if (Paneltyp == 1) {

    // Variabelcheck
    if (Modul >= 8) { return; }

    // Alle Bits auf 1 setzten
    hspi2_data[1] = hspi2_data[1] | 0xC0;
    hspi2_data[0] = hspi2_data[0] | 0x3F;

    // Modulbit löschen
    if (ON_OFF) {
      if (Modul == 0) { hspi2_data[1] = hspi2_data[1] & 0xBF; }
      if (Modul == 1) { hspi2_data[1] = hspi2_data[1] & 0x7F; }
      if (Modul >= 2) {
        Modul = Modul - 2;
        uint8_t bit = 0x01 << Modul;
        bit = ~bit;
        hspi2_data[0] = hspi2_data[0] & bit;
      }
    }
  }

  // Daten rausschieben
  HAL_SPI_Transmit(&hspi2, (uint8_t*)&hspi2_data, 2, 100);

  // Latch Toggeln
  HAL_GPIO_WritePin(Spalten_LATCH_GPIO_Port, Spalten_LATCH_Pin, 1);
  HAL_GPIO_WritePin(Spalten_LATCH_GPIO_Port, Spalten_LATCH_Pin, 0);
}

//////////////////////////////////////////////////////
// Dots schreiben
//////////////////////////////////////////////////////
void Write_Dots(uint8_t from_x, uint8_t to_x, uint8_t from_y, uint8_t to_y) {

  // Status LED ein
  HAL_GPIO_WritePin(LED_Status_GPIO_Port, LED_Status_Pin,  1);

  // Parameter bestimmen
  uint8_t x_max = Panelanzahl * 28;
  uint8_t y_max = 0;
  if (Paneltyp == LAWO)  { y_max = 16; }  // Lawo
  if (Paneltyp == BROSE) { y_max = 19; }  // Brose

  // Variabelcheck
  if (from_x >= x_max || to_x >= x_max || from_x > to_x) { return; }
  if (from_y >= y_max || to_y >= y_max || from_y > to_y) { return; }

  // Spalten und Zeilen abarbeiten
  for (uint8_t Spalte = from_x; Spalte <= to_x; Spalte++) {
    for (uint8_t Zeile = from_y; Zeile <= to_y; Zeile++) {

      // Bit maskieren
      uint8_t skip = 0;
      uint8_t dot = 0;
      uint32_t current_data = dots[Spalte] & (0x00000001 << Zeile);
      if (current_data) { dot = 1; }

      // Checken ob Dot überhaupt erneut gekippt werden muss
      if (enable_fast_refresh) {
        skip |= bit_not_changed(Spalte, Zeile);
      }

      // Flip Vorgang ausführen
      if (!skip) {

        // Spalten + Zeilentreiber einstellen
        Spalte_aktivieren(Spalte - ((Spalte/28)*28), !dot);
        Zeile_aktivieren(Zeile, dot);

        // Spalten + Zeilentreiber einschalten
        Modul_aktivieren(Spalte/28, 1);
        HAL_GPIO_WritePin(Zeilen_OE_GPIO_Port, Zeilen_OE_Pin, 1);

        // 1ms Delay
        delay_us(1000);

        // Spalten + Zeilentreiber ausschalten
        HAL_GPIO_WritePin(Zeilen_OE_GPIO_Port, Zeilen_OE_Pin, 1);
        Modul_aktivieren(Spalte/28, 0);
      }
    }
  }

  // Status LED aus
  HAL_GPIO_WritePin(LED_Status_GPIO_Port, LED_Status_Pin,  0);
}

//////////////////////////////////////////////////////
// Text generieren (8px Höhe)
//////////////////////////////////////////////////////
// text_selector:
// '0' = fnt8x8.h
// '1' = 6x8_vertikal_LSB_1.h
int generate_text(uint8_t* text_in, uint8_t* text_out, int start, int end, uint8_t text_selector) {

  // Zeichenanzahl überprüfen
  if ((end-start) <= 0) { return 0; }

  // Font Init
  int char_width = 0;
  uint8_t* font_data = NULL;
  switch (text_selector) {
    case 0: char_width = 8;   font_data = (uint8_t*)font8x8int;             break;
    case 1: char_width = 6;   font_data = (uint8_t*)font_6x8vertikal_LSB;   break;
    default: return 0; break;
  }
  if (font_data == NULL) { return 0; }

  // Text aus Zeichen zusammensetzen
  int pos = 0;
  int spaceing_counter = 0;
  for (int i=start; i<end; i++) {

    // Alle Spalten eines Zeichens rüberkopieren
    for (int spalte=0; spalte<char_width; spalte++) {

      // Vertikale Pixeldaten abfragen
      uint8_t vert_data = (font_data[(char_width * text_in[i]) + spalte]);

      // evtl. Zwischenräume auslassen
      if (vert_data == 0 && text_in[i] != 32) { spaceing_counter++; } else { spaceing_counter=0; }
      if (spaceing_counter <= 1) {

        // Pixeldaten schreiben
        text_out[pos] = vert_data;
        pos++;
      }
    }
  }

  // Geschriebe Länge zurückgeben
  return pos;
}

//////////////////////////////////////////////////////
// Hilfsfunktionen
//////////////////////////////////////////////////////

// Gibt zurück, ob sich ein Bit nicht geändert hat
uint8_t bit_not_changed(uint8_t x, uint8_t y) {
  uint32_t new = dots[x]     & (0x00000001 << y);
  uint32_t old = dots_old[x] & (0x00000001 << y);
  if (new != old) {
    return 0x00; // bit changed
  } else {
    return 0xFF; // bit not changed
  }
}

// Speichert ein Backup vom Pixelbuffer
void save_written_dots(void) {
  if (enable_fast_refresh) {
      for (uint8_t i=0; i < Panelanzahl * 28; i++)
        dots_old[i] = dots[i];
  }
  return;
}

/* USER CODE END 4 */

void _Error_Handler(char *file, int line)
{
  while(1)
  {
  }
}

/************************ (C) COPYRIGHT STMicroelectronics *****END OF FILE****/
